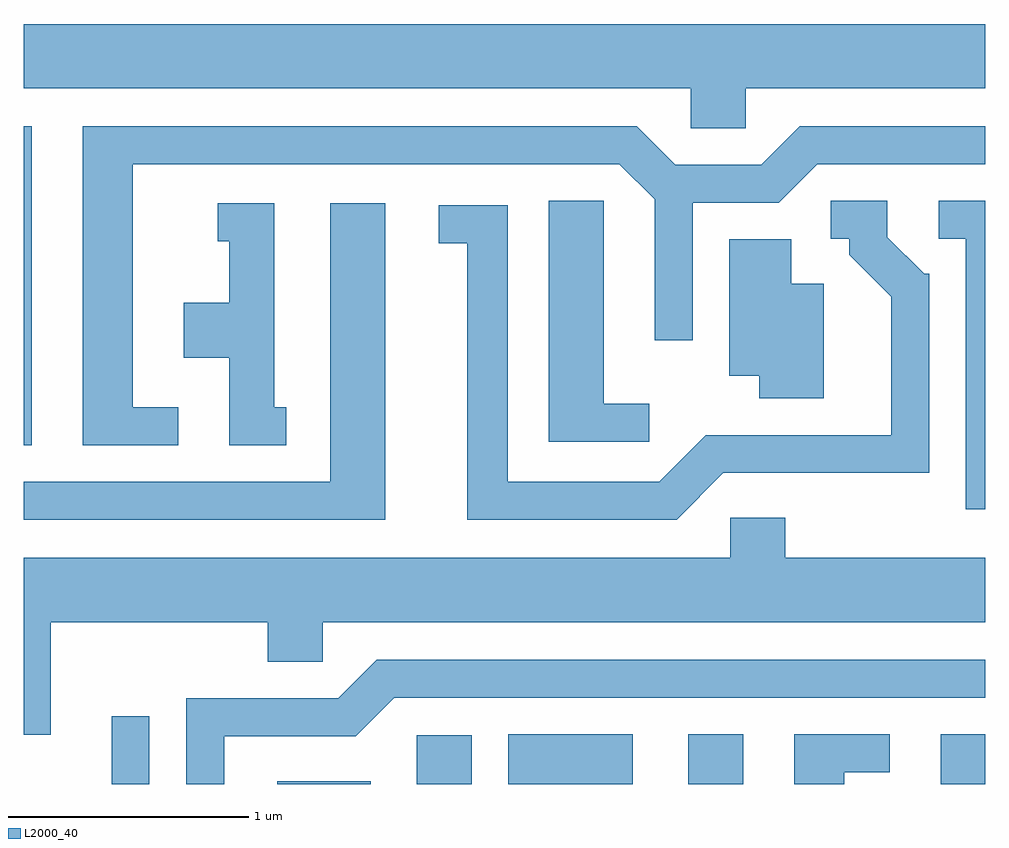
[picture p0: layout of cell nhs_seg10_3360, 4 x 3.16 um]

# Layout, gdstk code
import gdstk
lib = gdstk.Library(unit=1e-6, precision=1e-09)
def R(c, l, rs):  # rectangles x0, y0, x1, y1
    for r in rs: c.add(gdstk.rectangle(r[:2], r[2:], *l))
def P(c, l, *ps):  # polygons
    for p in ps: c.add(gdstk.Polygon(p, *l))
L2000_40 = (2000, 40)

nhs_seg10_3360 = lib.new_cell('nhs_seg10_3360')
R(nhs_seg10_3360, L2000_40, [(283.976,2166.522,284.134,2166.803), (284.666,2166.522,285.054,2166.534), (285.246,2166.522,285.474,2166.724), (285.626,2166.522,286.144,2166.729), (286.376,2166.522,286.604,2166.729), (287.426,2166.522,287.611,2166.729), (283.611,2167.931,283.644,2169.259)])
P(nhs_seg10_3360, L2000_40, [(286.614,2169.416),(287.611,2169.416),(287.611,2169.684),(283.611,2169.684),(283.611,2169.416),(286.386,2169.416),(286.386,2169.251),(286.614,2169.251)],
  [(284.253,2168.089),(284.064,2168.089),(284.064,2169.101),(286.089,2169.101),(286.236,2168.954),(286.236,2168.368),(286.394,2168.368),(286.394,2168.941),(286.752,2168.941),(286.912,2169.101),(287.611,2169.101),(287.611,2169.259),(286.839,2169.259),(286.679,2169.099),(286.322,2169.099),(286.162,2169.259),(283.856,2169.259),(283.856,2167.931),(284.253,2167.931)],
  [(287.611,2168.949),(287.418,2168.949),(287.418,2168.791),(287.531,2168.791),(287.531,2167.666),(287.611,2167.666)],
  [(286.213,2168.104),(286.024,2168.104),(286.024,2168.949),(285.796,2168.949),(285.796,2167.946),(286.213,2167.946)],
  [(286.522,2167.816),(287.379,2167.816),(287.379,2168.644),(287.357,2168.644),(287.204,2168.797),(287.204,2168.949),(286.968,2168.949),(286.968,2168.791),(287.046,2168.791),(287.046,2168.724),(287.221,2168.549),(287.221,2167.974),(286.449,2167.974),(286.254,2167.779),(285.624,2167.779),(285.624,2168.929),(285.338,2168.929),(285.338,2168.771),(285.456,2168.771),(285.456,2167.621),(286.327,2167.621)],
  [(285.114,2168.939),(284.886,2168.939),(284.886,2167.779),(283.611,2167.779),(283.611,2167.621),(285.114,2167.621)],
  [(284.703,2168.089),(284.654,2168.089),(284.654,2168.939),(284.418,2168.939),(284.418,2168.781),(284.466,2168.781),(284.466,2168.524),(284.276,2168.524),(284.276,2168.296),(284.466,2168.296),(284.466,2167.931),(284.703,2167.931)],
  [(286.939,2168.604),(286.804,2168.604),(286.804,2168.789),(286.546,2168.789),(286.546,2168.221),(286.671,2168.221),(286.671,2168.126),(286.939,2168.126)],
  [(283.724,2167.196),(284.626,2167.196),(284.626,2167.031),(284.854,2167.031),(284.854,2167.196),(287.611,2167.196),(287.611,2167.464),(286.779,2167.464),(286.779,2167.629),(286.551,2167.629),(286.551,2167.464),(283.611,2167.464),(283.611,2166.726),(283.724,2166.726)],
  [(284.444,2166.721),(284.992,2166.721),(285.152,2166.881),(287.611,2166.881),(287.611,2167.039),(285.079,2167.039),(284.919,2166.879),(284.286,2166.879),(284.286,2166.522),(284.444,2166.522)],
  [(287.024,2166.571),(287.213,2166.571),(287.213,2166.729),(286.816,2166.729),(286.816,2166.522),(287.024,2166.522)])

lib.write_gds('nhs_seg10_3360.gds')
